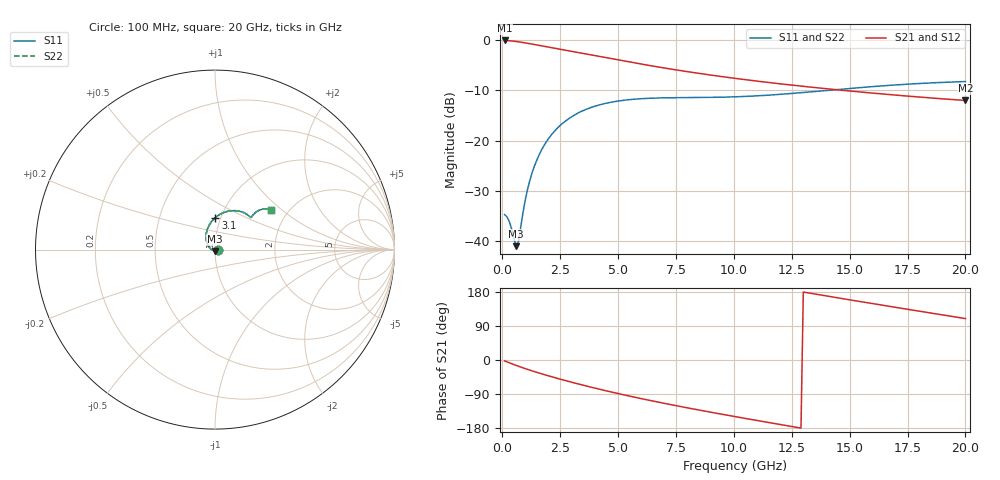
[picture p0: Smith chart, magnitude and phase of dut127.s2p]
! Touchstone file exported from HFSS 2023.1.0
!  File:  D:/Users/fzz/RDL_TSV/temp_RDL_TSV_127_1778751060.aedt
!  Generated:  5:43:38 %x4E0B%x5348  5%x6708 14, 2026
!  Design:  RDL_TSV
!  Project:  temp_RDL_TSV_127_1778751060
!  Setup:  Setup1
!  Solution:  Sweep
! Variables:
!  dtsv = 20.31um
!  hbump = 3um
!  htsv = 69.07um
!  ldown = 661.99um
!  lrdl = 344.44um
!  p = 40
!  p1 = 57.78um
!  rhole = 10um
!  subl = 3363.73um
!  t = 450um
!  tdown = 4.28um
!  trdl = 3.33um
!  viad = 10um
!  wdown = 22.41um
!  wrdl = 12.66um
!  xbump = 18um
# GHz S MA R 50.000000
! Terminal data exported
! Port[1] = TM1_1_T1
! Port[2] = TM1_4_T1
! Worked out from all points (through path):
!   200 points, 100 MHz to 20 GHz, reference 50 ohm
!   highest |S21| = -0.17 dB at 100 MHz (marker M1); lowest = -12.1 dB at 20 GHz (marker M2)
!   group delay of S21, straight-line fit = 32.7 ps
!   lowest |S11| = -40.9 dB at 600 MHz (marker M3), VSWR 1.02, Z = 49.9 - j0.895 ohm
!   |S11| at or under -10 dB: start of sweep to 14.2 GHz
!   |S22| runs from -41.0 to -8.3 dB; largest |S21 - S12| = 1.5e-14
!   S11 on the Smith chart (normalised r, x): 100 MHz: 1.04, -0.00; 3.1 GHz: 0.94, +0.35; 20 GHz: 1.64, +0.85
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0.1  0.01848 -7.3  0.9803 -2.5  0.9803 -2.5  0.01848 -7.3
! Gamma 0 0 0 0
! Port Impedance 50 0 50 0
0.3  0.01586 -26.6  0.974 -7.3  0.974 -7.3  0.01585 -26.6
0.6  0.008986 -94.2  0.9574 -14.3  0.9574 -14.3  0.008956 -94.5
0.7  0.01 -133.7  0.9504 -16.5  0.9504 -16.5  0.01 -134.1
0.9  0.01969 -180.0  0.935 -20.8  0.935 -20.8  0.01975 179.8
1.1  0.03348 159.4  0.9184 -25.0  0.9184 -25.0  0.03359 159.3
1.3  0.04883 146.3  0.9012 -29.0  0.9012 -29.0  0.04897 146.2
1.5  0.06483 136.2  0.884 -32.8  0.884 -32.8  0.06501 136.1
1.8  0.08894 124.1  0.8585 -38.4  0.8585 -38.4  0.08917 124.0
2.2  0.1197 111.1  0.8258 -45.4  0.8258 -45.4  0.12 111.0
2.6  0.1478 100.4  0.7944 -52.2  0.7944 -52.2  0.1481 100.4
3.1  0.1781 89.4  0.7568 -60.4  0.7568 -60.4  0.1785 89.4
3.5  0.1983 81.9  0.7279 -66.6  0.7279 -66.6  0.1988 81.9
4.2  0.2257 71.1  0.6797 -77.2  0.6797 -77.2  0.2263 71.1
5.1  0.2481 60.5  0.6228 -89.9  0.6228 -89.9  0.2487 60.5
6.8  0.2642 48.0  0.5322 -112.0  0.5322 -112.0  0.2649 48.0
8.4  0.2667 42.8  0.466 -131.0  0.466 -131.0  0.2674 42.9
10.1  0.2712 41.7  0.4116 -149.9  0.4116 -149.9  0.2719 41.7
11.7  0.2835 42.2  0.3712 -167.1  0.3712 -167.1  0.2842 42.2
13.4  0.3046 42.5  0.3365 175.2  0.3365 175.2  0.3053 42.5
16.7  0.3518 39.9  0.2855 141.8  0.2855 141.8  0.3526 40.0
20  0.3839 35.1  0.2494 109.4  0.2494 109.4  0.3847 35.2
